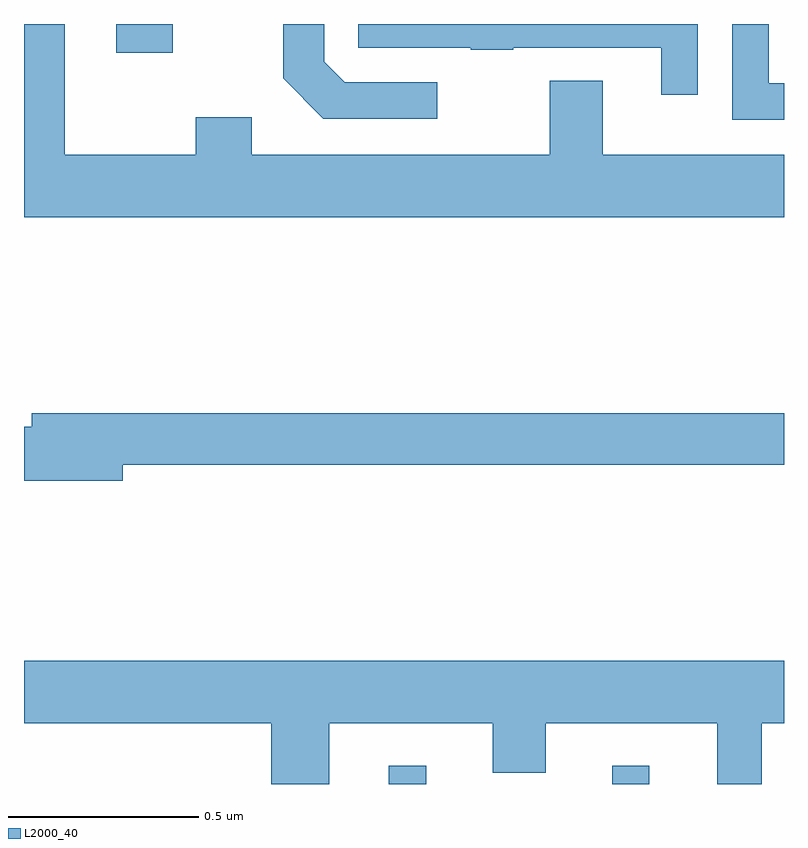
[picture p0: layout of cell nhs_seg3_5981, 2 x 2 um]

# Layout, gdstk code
import gdstk
lib = gdstk.Library(unit=1e-6, precision=1e-09)
def R(c, l, rs):  # rectangles x0, y0, x1, y1
    for r in rs: c.add(gdstk.rectangle(r[:2], r[2:], *l))
def P(c, l, *ps):  # polygons
    for p in ps: c.add(gdstk.Polygon(p, *l))
L2000_40 = (2000, 40)

nhs_seg3_5981 = lib.new_cell('nhs_seg3_5981')
R(nhs_seg3_5981, L2000_40, [(185.96,723.4,186.058,723.448), (186.548,723.4,186.645,723.448), (185.243,725.325,185.392,725.4)])
P(nhs_seg3_5981, L2000_40, [(187,725.056),(186.523,725.056),(186.523,725.251),(186.383,725.251),(186.383,725.056),(185.599,725.056),(185.599,725.155),(185.452,725.155),(185.452,725.056),(185.107,725.056),(185.107,725.4),(185,725.4),(185,724.892),(187,724.892)],
  [(187,725.244),(186.96,725.244),(186.96,725.4),(186.864,725.4),(186.864,725.148),(187,725.148)],
  [(186.773,725.4),(185.88,725.4),(185.88,725.337),(186.175,725.337),(186.175,725.332),(186.287,725.332),(186.287,725.337),(186.677,725.337),(186.677,725.214),(186.773,725.214)],
  [(186.088,725.247),(185.844,725.247),(185.79,725.301),(185.79,725.4),(185.682,725.4),(185.682,725.257),(185.787,725.151),(186.088,725.151)],
  [(185.26,724.24),(187,724.24),(187,724.376),(185.021,724.376),(185.021,724.34),(185,724.34),(185,724.198),(185.26,724.198)],
  [(185,723.56),(185.651,723.56),(185.651,723.4),(185.803,723.4),(185.803,723.56),(186.233,723.56),(186.233,723.43),(186.373,723.43),(186.373,723.56),(186.824,723.56),(186.824,723.4),(186.941,723.4),(186.941,723.56),(187,723.56),(187,723.724),(185,723.724)])

lib.write_gds('nhs_seg3_5981.gds')
